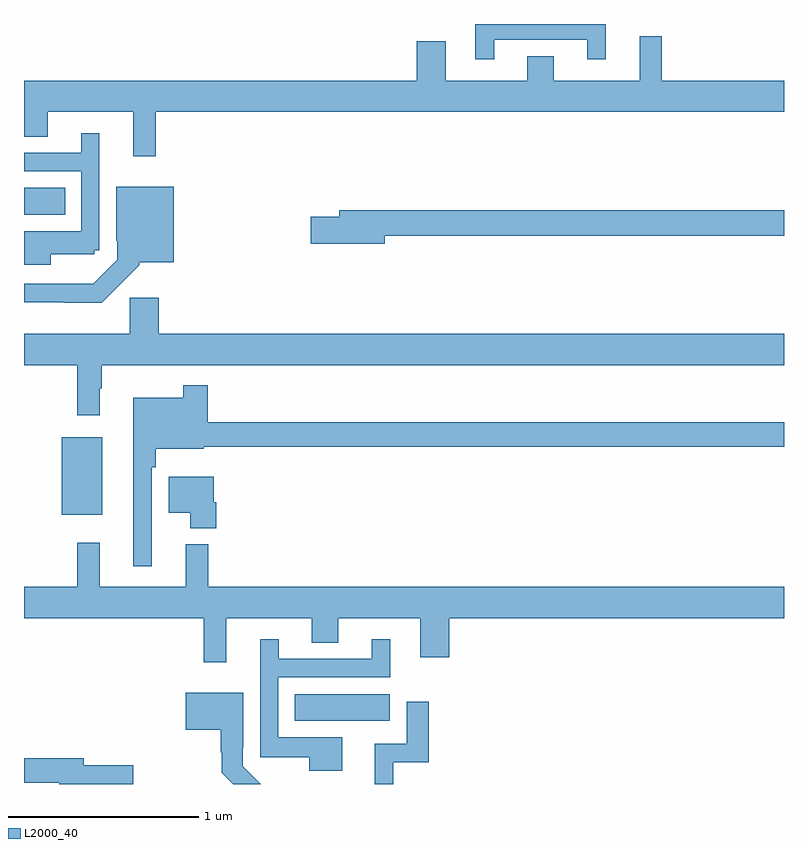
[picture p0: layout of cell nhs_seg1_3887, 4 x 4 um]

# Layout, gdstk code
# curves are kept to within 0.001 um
import gdstk
lib = gdstk.Library(unit=1e-6, precision=1e-09)
def R(c, l, rs):  # rectangles x0, y0, x1, y1
    for r in rs: c.add(gdstk.rectangle(r[:2], r[2:], *l))
def P(c, l, *ps):  # polygons
    for p in ps: c.add(gdstk.Polygon(p, *l))
L2000_40 = (2000, 40)

nhs_seg1_3887 = lib.new_cell('nhs_seg1_3887')
R(nhs_seg1_3887, L2000_40, [(324.424,544.532,324.925,544.672), (323.198,545.615,323.413,546.025), (323,547.196,323.216,547.336)])
P(nhs_seg1_3887, L2000_40, [(325.474,548.115),(325.964,548.115),(325.964,548.013),(326.061,548.013),(326.061,548.199),(325.376,548.199),(325.376,548.013),(325.474,548.013)],
  [(323.693,547.736),(327,547.736),(327,547.9),(326.357,547.9),(326.357,548.134),(326.24,548.134),(326.24,547.9),(325.789,547.9),(325.789,548.03),(325.649,548.03),(325.649,547.9),(325.219,547.9),(325.219,548.107),(325.067,548.107),(325.067,547.9),(323,547.9),(323,547.606),(323.125,547.606),(323.125,547.736),(323.576,547.736),(323.576,547.503),(323.693,547.503)],
  [(323.14,546.986),(323.37,546.986),(323.37,547.008),(323.397,547.008),(323.397,547.624),(323.3,547.624),(323.3,547.521),(323,547.521),(323,547.425),(323.301,547.425),(323.301,547.108),(323,547.108),(323,546.932),(323.14,546.932)],
  [(323.606,546.929),(323.606,546.944),(323.788,546.944),(323.788,547.342),(323.486,547.342),(323.486,547.057),(323.49,547.057),(323.49,546.957),(323.365,546.832),(323,546.831),(323,546.734),(323.209,546.734),(323.209,546.732),(323.408,546.732)],
  [(324.898,547.084),(327,547.084),(327,547.22),(324.659,547.22),(324.659,547.184),(324.51,547.184),(324.51,547.042),(324.898,547.042)],
  [(323.398,546.281),(323.41,546.281),(323.41,546.404),(327,546.404),(327,546.568),(323.708,546.568),(323.708,546.759),(323.557,546.759),(323.557,546.568),(323,546.568),(323,546.404),(323.281,546.404),(323.281,546.141),(323.398,546.141)],
  [(323.673,545.867),(323.693,545.867),(323.693,545.963),(323.947,545.963),(323.947,545.974),(327,545.974),(327,546.103),(323.966,546.103),(323.966,546.298),(323.838,546.298),(323.838,546.232),(323.576,546.232),(323.576,545.346),(323.673,545.346)],
  [(324.011,545.682),(323.998,545.682),(323.998,545.815),(323.762,545.815),(323.762,545.627),(323.876,545.627),(323.876,545.546),(324.011,545.546)],
  [(324.065,545.072),(324.515,545.072),(324.515,544.942),(324.655,544.942),(324.655,545.072),(325.085,545.072),(325.085,544.866),(325.238,544.866),(325.238,545.072),(327,545.072),(327,545.236),(323.969,545.236),(323.969,545.461),(323.852,545.461),(323.852,545.236),(323.399,545.236),(323.399,545.47),(323.281,545.47),(323.281,545.236),(323,545.236),(323,545.072),(323.947,545.072),(323.947,544.839),(324.065,544.839)],
  [(324.676,544.444),(324.339,544.444),(324.339,544.761),(324.928,544.761),(324.928,544.96),(324.83,544.96),(324.83,544.857),(324.34,544.857),(324.34,544.96),(324.243,544.96),(324.243,544.34),(324.5,544.34),(324.5,544.268),(324.676,544.268)],
  [(324.15,544.293),(324.15,544.393),(324.153,544.393),(324.153,544.678),(323.852,544.678),(323.852,544.484),(324.035,544.484),(324.035,544.367),(324.042,544.367),(324.042,544.257),(324.1,544.199),(324.245,544.199)],
  [(324.943,544.314),(325.13,544.314),(325.13,544.633),(325.014,544.633),(325.014,544.41),(324.845,544.41),(324.845,544.199),(324.943,544.199)],
  [(323.575,544.298),(323.314,544.298),(323.314,544.334),(323,544.334),(323,544.206),(323.186,544.206),(323.186,544.199),(323.575,544.199)])

lib.write_gds('nhs_seg1_3887.gds')
